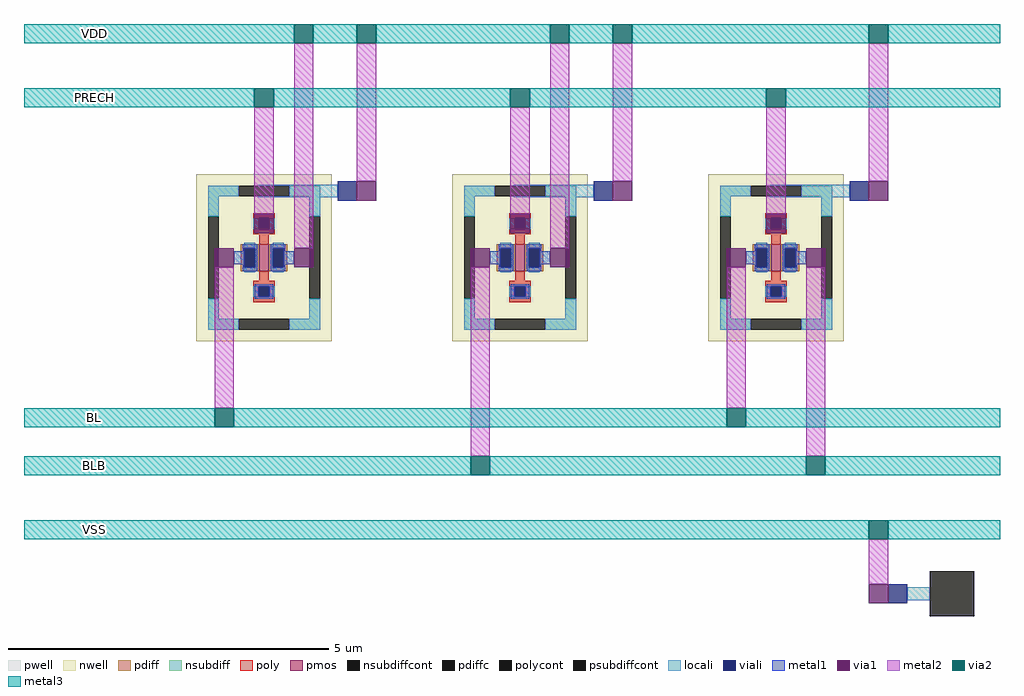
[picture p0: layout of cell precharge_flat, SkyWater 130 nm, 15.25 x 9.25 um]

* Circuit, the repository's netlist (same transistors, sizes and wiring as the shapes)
* NGSPICE file created from precharge_flat.ext - technology: sky130A

.subckt precharge_flat VDD BL BLB PRECH VSS
X0 BLB PRECH BL VDD sky130_fd_pr__pfet_01v8 ad=0.1218 pd=1.42 as=0.1218 ps=1.42 w=0.42 l=0.15
X1 VDD PRECH BL VDD sky130_fd_pr__pfet_01v8 ad=0.1218 pd=1.42 as=0.1218 ps=1.42 w=0.42 l=0.15
X2 VDD PRECH BLB VDD sky130_fd_pr__pfet_01v8 ad=0.1218 pd=1.42 as=0.1218 ps=1.42 w=0.42 l=0.15
.ends

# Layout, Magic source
magic
tech sky130A
magscale 1 2
<< nwell >>
rect 89 -1261 511 -739
rect 889 -1261 1311 -739
rect 1689 -1261 2111 -739
<< pwell >>
rect 2380 -2120 2520 -1980
<< pmos >>
rect 285 -1042 315 -958
rect 1085 -1042 1115 -958
rect 1885 -1042 1915 -958
<< pdiff >>
rect 227 -970 285 -958
rect 227 -1030 239 -970
rect 273 -1030 285 -970
rect 227 -1042 285 -1030
rect 315 -970 373 -958
rect 315 -1030 327 -970
rect 361 -1030 373 -970
rect 315 -1042 373 -1030
rect 1027 -970 1085 -958
rect 1027 -1030 1039 -970
rect 1073 -1030 1085 -970
rect 1027 -1042 1085 -1030
rect 1115 -970 1173 -958
rect 1115 -1030 1127 -970
rect 1161 -1030 1173 -970
rect 1115 -1042 1173 -1030
rect 1827 -970 1885 -958
rect 1827 -1030 1839 -970
rect 1873 -1030 1885 -970
rect 1827 -1042 1885 -1030
rect 1915 -970 1973 -958
rect 1915 -1030 1927 -970
rect 1961 -1030 1973 -970
rect 1915 -1042 1973 -1030
<< pdiffc >>
rect 239 -1030 273 -970
rect 327 -1030 361 -970
rect 1039 -1030 1073 -970
rect 1127 -1030 1161 -970
rect 1839 -1030 1873 -970
rect 1927 -1030 1961 -970
<< nsubdiff >>
rect 125 -809 221 -775
rect 379 -809 475 -775
rect 125 -871 159 -809
rect 441 -871 475 -809
rect 125 -1191 159 -1129
rect 441 -1191 475 -1129
rect 125 -1225 221 -1191
rect 379 -1225 475 -1191
rect 925 -809 1021 -775
rect 1179 -809 1275 -775
rect 925 -871 959 -809
rect 1241 -871 1275 -809
rect 925 -1191 959 -1129
rect 1241 -1191 1275 -1129
rect 925 -1225 1021 -1191
rect 1179 -1225 1275 -1191
rect 1725 -809 1821 -775
rect 1979 -809 2075 -775
rect 1725 -871 1759 -809
rect 2041 -871 2075 -809
rect 1725 -1191 1759 -1129
rect 2041 -1191 2075 -1129
rect 1725 -1225 1821 -1191
rect 1979 -1225 2075 -1191
<< psubdiffcont >>
rect 2380 -2120 2520 -1980
<< nsubdiffcont >>
rect 221 -809 379 -775
rect 125 -1129 159 -871
rect 441 -1129 475 -871
rect 221 -1225 379 -1191
rect 1021 -809 1179 -775
rect 925 -1129 959 -871
rect 1241 -1129 1275 -871
rect 1021 -1225 1179 -1191
rect 1821 -809 1979 -775
rect 1725 -1129 1759 -871
rect 2041 -1129 2075 -871
rect 1821 -1225 1979 -1191
<< poly >>
rect 267 -877 333 -861
rect 267 -911 283 -877
rect 317 -911 333 -877
rect 267 -927 333 -911
rect 285 -958 315 -927
rect 285 -1073 315 -1042
rect 267 -1089 333 -1073
rect 267 -1123 283 -1089
rect 317 -1123 333 -1089
rect 267 -1139 333 -1123
rect 1067 -877 1133 -861
rect 1067 -911 1083 -877
rect 1117 -911 1133 -877
rect 1067 -927 1133 -911
rect 1085 -958 1115 -927
rect 1085 -1073 1115 -1042
rect 1067 -1089 1133 -1073
rect 1067 -1123 1083 -1089
rect 1117 -1123 1133 -1089
rect 1067 -1139 1133 -1123
rect 1867 -877 1933 -861
rect 1867 -911 1883 -877
rect 1917 -911 1933 -877
rect 1867 -927 1933 -911
rect 1885 -958 1915 -927
rect 1885 -1073 1915 -1042
rect 1867 -1089 1933 -1073
rect 1867 -1123 1883 -1089
rect 1917 -1123 1933 -1089
rect 1867 -1139 1933 -1123
<< polycont >>
rect 283 -911 317 -877
rect 283 -1123 317 -1089
rect 1083 -911 1117 -877
rect 1083 -1123 1117 -1089
rect 1883 -911 1917 -877
rect 1883 -1123 1917 -1089
<< locali >>
rect 280 -775 530 -772
rect 125 -809 221 -775
rect 379 -809 530 -775
rect 125 -871 159 -809
rect 280 -812 530 -809
rect 441 -871 475 -812
rect 1080 -775 1330 -772
rect 925 -809 1021 -775
rect 1179 -809 1330 -775
rect 267 -911 283 -877
rect 317 -911 333 -877
rect 239 -970 273 -954
rect 239 -1046 273 -1030
rect 327 -970 361 -954
rect 327 -1046 361 -1030
rect 267 -1123 283 -1089
rect 317 -1123 333 -1089
rect 125 -1191 159 -1129
rect 441 -1191 475 -1129
rect 125 -1225 221 -1191
rect 379 -1225 475 -1191
rect 925 -871 959 -809
rect 1080 -812 1330 -809
rect 1241 -871 1275 -812
rect 1880 -775 2130 -772
rect 1725 -809 1821 -775
rect 1979 -809 2130 -775
rect 1067 -911 1083 -877
rect 1117 -911 1133 -877
rect 1039 -970 1073 -954
rect 1039 -1046 1073 -1030
rect 1127 -970 1161 -954
rect 1127 -1046 1161 -1030
rect 1067 -1123 1083 -1089
rect 1117 -1123 1133 -1089
rect 925 -1191 959 -1129
rect 1241 -1191 1275 -1129
rect 925 -1225 1021 -1191
rect 1179 -1225 1275 -1191
rect 1725 -871 1759 -809
rect 1880 -812 2130 -809
rect 2041 -871 2075 -812
rect 1867 -911 1883 -877
rect 1917 -911 1933 -877
rect 1839 -970 1873 -954
rect 1839 -1046 1873 -1030
rect 1927 -970 1961 -954
rect 1927 -1046 1961 -1030
rect 1867 -1123 1883 -1089
rect 1917 -1123 1933 -1089
rect 1725 -1191 1759 -1129
rect 2041 -1191 2075 -1129
rect 1725 -1225 1821 -1191
rect 1979 -1225 2075 -1191
rect 2310 -2070 2380 -2030
<< viali >>
rect 530 -822 590 -762
rect 283 -911 317 -877
rect 239 -1030 273 -970
rect 327 -1030 361 -970
rect 283 -1123 317 -1089
rect 1330 -822 1390 -762
rect 1083 -911 1117 -877
rect 1039 -1030 1073 -970
rect 1127 -1030 1161 -970
rect 1083 -1123 1117 -1089
rect 2130 -822 2190 -762
rect 1883 -911 1917 -877
rect 1839 -1030 1873 -970
rect 1927 -1030 1961 -970
rect 1883 -1123 1917 -1089
rect 2250 -2080 2310 -2020
<< metal1 >>
rect 233 -970 279 -958
rect 233 -980 239 -970
rect 206 -1020 239 -980
rect 233 -1030 239 -1020
rect 273 -1030 279 -970
rect 233 -1042 279 -1030
rect 321 -970 367 -958
rect 1033 -970 1079 -958
rect 321 -1030 327 -970
rect 361 -980 367 -970
rect 361 -1020 394 -980
rect 361 -1030 367 -1020
rect 1033 -980 1039 -970
rect 1006 -1020 1039 -980
rect 1033 -1030 1039 -1020
rect 1073 -1030 1079 -970
rect 321 -1042 367 -1030
rect 1033 -1042 1079 -1030
rect 1121 -970 1167 -958
rect 1833 -970 1879 -958
rect 1121 -1030 1127 -970
rect 1161 -980 1167 -970
rect 1161 -1020 1194 -980
rect 1161 -1030 1167 -1020
rect 1833 -980 1839 -970
rect 1806 -1020 1839 -980
rect 1833 -1030 1839 -1020
rect 1873 -1030 1879 -970
rect 1121 -1042 1167 -1030
rect 1833 -1042 1879 -1030
rect 1921 -970 1967 -958
rect 1921 -1030 1927 -970
rect 1961 -980 1967 -970
rect 1961 -1020 1994 -980
rect 1961 -1030 1967 -1020
rect 1921 -1042 1967 -1030
rect 271 -1089 329 -1083
rect 271 -1123 283 -1089
rect 317 -1123 329 -1089
rect 271 -1129 329 -1123
rect 1071 -1089 1129 -1083
rect 1071 -1123 1083 -1089
rect 1117 -1123 1129 -1089
rect 1071 -1129 1129 -1123
rect 1871 -1089 1929 -1083
rect 1871 -1123 1883 -1089
rect 1917 -1123 1929 -1089
rect 1871 -1129 1929 -1123
<< via1 >>
rect 590 -822 650 -762
rect 1390 -822 1450 -762
rect 2190 -822 2250 -762
rect 270 -877 330 -864
rect 270 -911 283 -877
rect 283 -911 317 -877
rect 317 -911 330 -877
rect 270 -924 330 -911
rect 1070 -877 1130 -864
rect 1070 -911 1083 -877
rect 1083 -911 1117 -877
rect 1117 -911 1130 -877
rect 1070 -924 1130 -911
rect 1870 -877 1930 -864
rect 1870 -911 1883 -877
rect 1883 -911 1917 -877
rect 1917 -911 1930 -877
rect 1870 -924 1930 -911
rect 146 -1030 206 -970
rect 394 -1030 454 -970
rect 946 -1030 1006 -970
rect 1194 -1030 1254 -970
rect 1746 -1030 1806 -970
rect 1994 -1030 2054 -970
rect 2190 -2080 2250 -2020
<< metal2 >>
rect 270 -864 330 -530
rect 394 -970 454 -330
rect 590 -762 650 -330
rect 1070 -864 1130 -530
rect 1194 -970 1254 -330
rect 1390 -762 1450 -330
rect 1870 -864 1930 -530
rect 2190 -762 2250 -330
rect 146 -1470 206 -1030
rect 946 -1620 1006 -1030
rect 1746 -1470 1806 -1030
rect 1994 -1620 2054 -1030
rect 2190 -2020 2250 -1880
<< via2 >>
rect 394 -330 454 -270
rect 270 -530 330 -470
rect 590 -330 650 -270
rect 1194 -330 1254 -270
rect 1070 -530 1130 -470
rect 1390 -330 1450 -270
rect 2190 -330 2250 -270
rect 1870 -530 1930 -470
rect 146 -1530 206 -1470
rect 1746 -1530 1806 -1470
rect 946 -1680 1006 -1620
rect 1994 -1680 2054 -1620
rect 2190 -1880 2250 -1820
<< metal3 >>
rect -450 -330 394 -270
rect 454 -330 590 -270
rect 650 -330 1194 -270
rect 1254 -330 1390 -270
rect 1450 -330 2190 -270
rect 2250 -330 2600 -270
rect -450 -530 270 -470
rect 330 -530 1070 -470
rect 1130 -530 1870 -470
rect 1930 -530 2600 -470
rect -450 -1530 146 -1470
rect 206 -1530 1746 -1470
rect 1806 -1530 2600 -1470
rect -450 -1680 946 -1620
rect 1006 -1680 1994 -1620
rect 2054 -1680 2600 -1620
rect -450 -1880 2190 -1820
rect 2250 -1880 2600 -1820
<< labels >>
rlabel metal3 -255 -325 -205 -275 0 VDD
port 0 n
rlabel metal3 -255 -1525 -205 -1475 0 BL
port 1 n
rlabel metal3 -255 -1675 -205 -1625 0 BLB
port 2 n
rlabel metal3 -255 -525 -205 -475 0 PRECH
port 3 n
rlabel metal3 -255 -1875 -205 -1825 0 VSS
port 4 n
<< end >>
